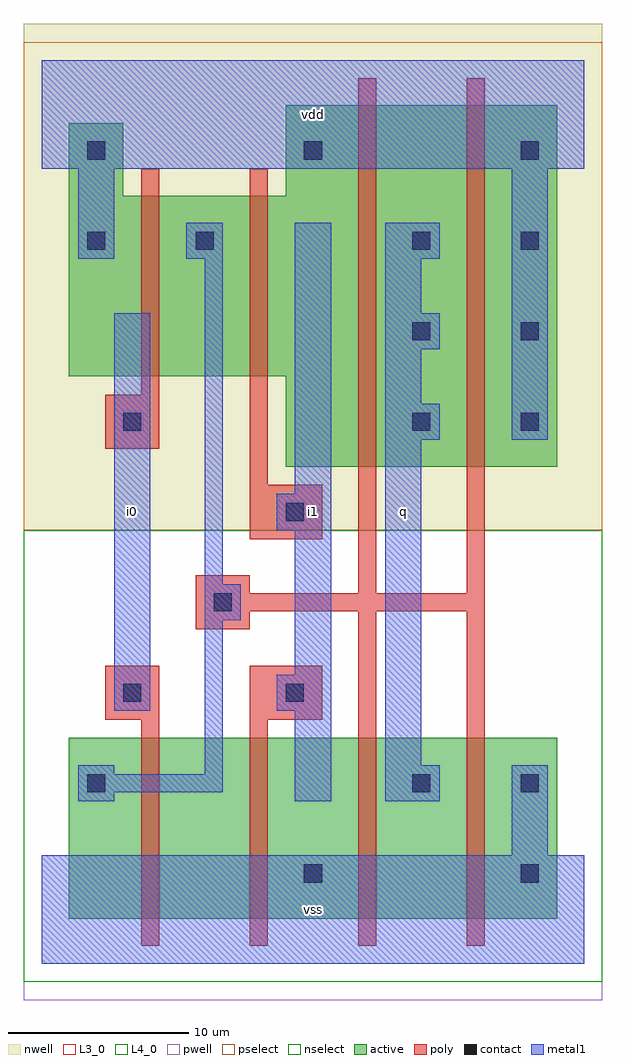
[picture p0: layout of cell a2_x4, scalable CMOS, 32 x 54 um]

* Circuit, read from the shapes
.subckt a2_x4 i0 i1 q vdd vss
M1 n1 i0 n2 VSUBS nfet w=10u l=1u
M2 vss i1 n1 VSUBS nfet w=10u l=1u
M3 q n2 vss VSUBS nfet w=10u l=1u m=2
M4 n2 i0 vdd n3 pfet w=10u l=1u
M5 vdd i1 n2 n3 pfet w=10u l=1u
M6 q n2 vdd n3 pfet w=20u l=1u m=2
.ends

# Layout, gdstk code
import gdstk
lib = gdstk.Library(unit=1e-6, precision=1e-09)
def R(c, l, rs):  # rectangles x0, y0, x1, y1
    for r in rs: c.add(gdstk.rectangle(r[:2], r[2:], *l))
def A(c, l, x, y, w, h, nx, ny, dx, dy):  # array of equal rectangles
    R(c, l, [(x+i*dx, y+j*dy, x+i*dx+w, y+j*dy+h) for i in range(nx) for j in range(ny)])
L3_0 = (3, 0)
L4_0 = (4, 0)
contact = (25, 0)
pwell = (41, 0)
nwell = (42, 0)
active = (43, 0)
pselect = (44, 0)
nselect = (45, 0)
poly = (46, 0)
metal1 = (49, 0)

a2_x4 = lib.new_cell('a2_x4')
R(a2_x4, L3_0, [(1.5,2.5,28.5,12.5)])
R(a2_x4, L4_0, [(13.5,27.5,28.5,32.5), (1.5,32.5,28.5,42.5), (1.5,42.5,4.5,46.5), (13.5,42.5,28.5,47.5)])
A(a2_x4, contact, 20.5, 29.5, 1, 1, 1, 3, 0, 5)
A(a2_x4, contact, 26.5, 29.5, 1, 1, 1, 3, 0, 5)
A(a2_x4, contact, 2.5, 44.5, 1, 1, 3, 1, 12, 0)
R(a2_x4, contact, [(14.5,4.5,15.5,5.5), (26.5,4.5,27.5,5.5), (2.5,9.5,3.5,10.5), (20.5,9.5,21.5,10.5), (26.5,9.5,27.5,10.5), (4.5,14.5,5.5,15.5), (13.5,14.5,14.5,15.5), (9.5,19.5,10.5,20.5), (13.5,24.5,14.5,25.5), (4.5,29.5,5.5,30.5), (2.5,39.5,3.5,40.5), (8.5,39.5,9.5,40.5)])
R(a2_x4, pwell, [(-1,-2,31,24)])
R(a2_x4, nwell, [(-1,24,31,52)])
R(a2_x4, active, [(1.5,2.5,28.5,12.5), (13.5,27.5,28.5,32.5), (1.5,32.5,28.5,42.5), (1.5,42.5,4.5,46.5), (13.5,42.5,28.5,47.5)])
R(a2_x4, pselect, [(-1,24,31,51)])
R(a2_x4, nselect, [(-1,-1,31,24)])
R(a2_x4, poly, [(5.5,1,6.5,13.5), (11.5,1,12.5,13.5), (17.5,1,18.5,19.5), (23.5,1,24.5,19.5), (3.5,13.5,6.5,16.5), (11.5,13.5,15.5,16.5), (8.5,18.5,11.5,19.5), (8.5,19.5,24.5,20.5), (8.5,20.5,11.5,21.5), (17.5,20.5,18.5,49), (23.5,20.5,24.5,49), (11.5,23.5,15.5,26.5), (11.5,26.5,12.5,44), (3.5,28.5,6.5,31.5), (5.5,31.5,6.5,44)])
A(a2_x4, metal1, 19, 29, 3, 2, 1, 3, 0, 5)
R(a2_x4, metal1, [(0,0,30,6), (26,6,28,11), (2,9,4,9.5), (14,9,16,14), (19,9,22,11), (2,9.5,10,10.5), (2,10.5,4,11), (9,10.5,10,19), (19,11,21,29), (4,14,6,36), (13,14,16,16), (14,16,16,24), (9,19,11,21), (9,21,10,39), (13,24,16,26), (14,26,16,41), (26,29,28,44), (19,31,21,34), (19,36,21,39), (2,39,4,44), (8,39,10,41), (0,44,30,50)])
a2_x4.add(gdstk.Label('i0', (5,25), layer=49, texttype=0))
a2_x4.add(gdstk.Label('vss', (15,3), layer=49, texttype=0))
a2_x4.add(gdstk.Label('q', (20,25), layer=49, texttype=0))
a2_x4.add(gdstk.Label('i1', (15,25), layer=49, texttype=0))
a2_x4.add(gdstk.Label('vdd', (15,47), layer=49, texttype=0))

lib.write_gds('a2_x4.gds')
